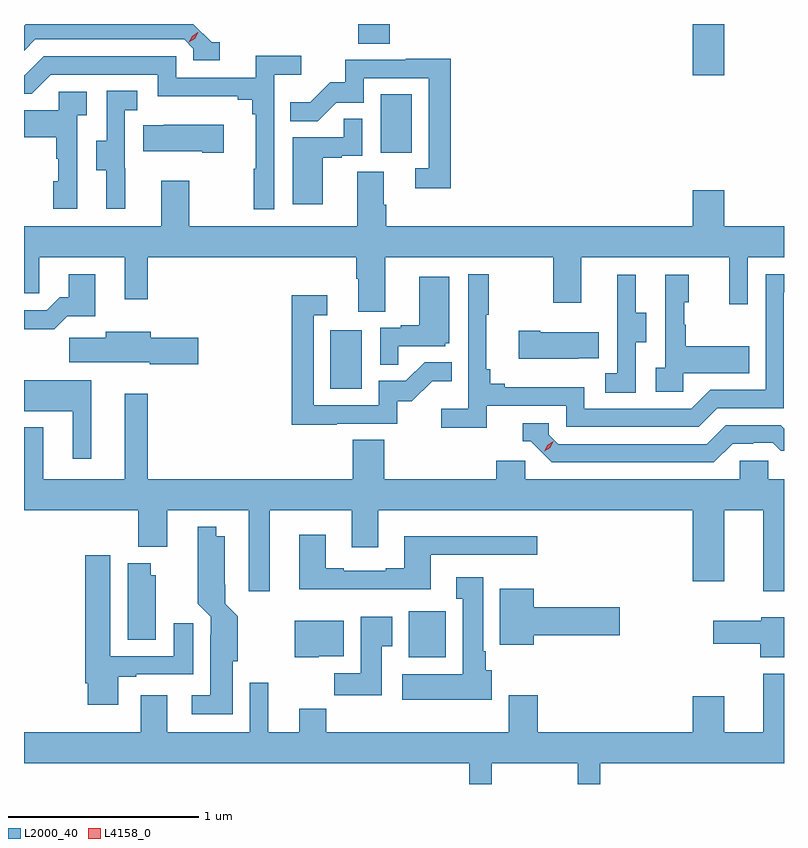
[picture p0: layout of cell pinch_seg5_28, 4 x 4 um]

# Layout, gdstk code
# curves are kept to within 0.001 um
import gdstk
lib = gdstk.Library(unit=1e-6, precision=1e-09)
def R(c, l, rs):  # rectangles x0, y0, x1, y1
    for r in rs: c.add(gdstk.rectangle(r[:2], r[2:], *l))
def P(c, l, *ps):  # polygons
    for p in ps: c.add(gdstk.Polygon(p, *l))
L2000_40 = (2000, 40)
L4158_0 = (4158, 0)

pinch_seg5_28 = lib.new_cell('pinch_seg5_28')
R(pinch_seg5_28, L2000_40, [(1110.563,902.606,1110.76,902.848), (1110.152,904.02,1110.316,904.327), (1110.416,905.262,1110.58,905.569), (1112.06,905.67,1112.224,905.94), (1110.299,905.836,1110.464,905.94)])
P(pinch_seg5_28, L2000_40, [(1109.569,905.844),(1109.526,905.844),(1109.43,905.94),(1108.547,905.94),(1108.539,905.932),(1108.539,905.799),(1108.599,905.859),(1109.382,905.859),(1109.43,905.811),(1109.43,905.748),(1109.569,905.748)],
  [(1109.856,905.672),(1109.998,905.672),(1109.998,905.774),(1109.759,905.774),(1109.759,905.658),(1109.34,905.658),(1109.34,905.769),(1108.643,905.769),(1108.544,905.67),(1108.539,905.67),(1108.539,905.574),(1108.581,905.574),(1108.68,905.673),(1109.244,905.673),(1109.244,905.561),(1109.663,905.561),(1109.663,905.542),(1109.74,905.542),(1109.74,905.465),(1109.759,905.465),(1109.759,905.177),(1109.748,905.177),(1109.748,904.965),(1109.856,904.965)],
  [(1110.785,905.756),(1110.547,905.756),(1110.547,905.751),(1110.229,905.751),(1110.229,905.634),(1110.152,905.634),(1110.045,905.527),(1109.941,905.527),(1109.941,905.428),(1110.085,905.428),(1110.183,905.526),(1110.327,905.526),(1110.327,905.655),(1110.669,905.655),(1110.669,905.181),(1110.597,905.181),(1110.597,905.076),(1110.785,905.076)],
  [(1109.072,905.181),(1109.07,905.181),(1109.07,905.485),(1109.134,905.485),(1109.134,905.588),(1108.974,905.588),(1108.974,905.325),(1108.919,905.325),(1108.919,905.17),(1108.973,905.17),(1108.973,904.968),(1109.072,904.968)],
  [(1108.818,905.459),(1108.87,905.459),(1108.87,905.583),(1108.722,905.583),(1108.722,905.485),(1108.539,905.485),(1108.539,905.345),(1108.71,905.345),(1108.71,905.231),(1108.72,905.231),(1108.72,905.112),(1108.694,905.112),(1108.694,904.968),(1108.818,904.968)],
  [(1110.112,905.235),(1110.212,905.235),(1110.212,905.247),(1110.318,905.247),(1110.318,905.441),(1110.223,905.441),(1110.223,905.343),(1109.954,905.343),(1109.954,904.992),(1110.112,904.992)],
  [(1109.59,905.41),(1109.275,905.41),(1109.275,905.407),(1109.167,905.407),(1109.167,905.27),(1109.477,905.27),(1109.477,905.263),(1109.59,905.263)],
  [(1110.439,904.712),(1111.324,904.712),(1111.324,904.473),(1111.471,904.473),(1111.471,904.712),(1112.252,904.712),(1112.252,904.464),(1112.349,904.464),(1112.349,904.712),(1112.539,904.712),(1112.539,904.876),(1112.224,904.876),(1112.224,905.065),(1112.06,905.065),(1112.06,904.876),(1110.446,904.876),(1110.446,904.988),(1110.433,904.988),(1110.433,905.162),(1110.293,905.162),(1110.293,904.876),(1109.409,904.876),(1109.409,905.116),(1109.261,905.116),(1109.261,904.876),(1108.539,904.876),(1108.539,904.522),(1108.62,904.522),(1108.62,904.712),(1109.069,904.712),(1109.069,904.491),(1109.191,904.491),(1109.191,904.712),(1110.287,904.712),(1110.287,904.6),(1110.299,904.6),(1110.299,904.426),(1110.439,904.426)],
  [(1110.974,903.93),(1111.392,903.93),(1111.392,903.819),(1112.089,903.819),(1112.188,903.918),(1112.538,903.918),(1112.539,904.623),(1112.442,904.623),(1112.442,904.014),(1112.151,904.014),(1112.052,903.915),(1111.488,903.915),(1111.488,904.027),(1111.069,904.027),(1111.069,904.046),(1110.992,904.046),(1110.992,904.123),(1110.973,904.123),(1110.973,904.411),(1110.985,904.411),(1110.985,904.624),(1110.876,904.624),(1110.876,903.916),(1110.735,903.916),(1110.735,903.814),(1110.974,903.814)],
  [(1108.766,904.403),(1108.915,904.403),(1108.915,904.624),(1108.775,904.624),(1108.775,904.501),(1108.726,904.501),(1108.659,904.434),(1108.539,904.434),(1108.539,904.334),(1108.697,904.334)],
  [(1112.01,904.103),(1112.357,904.103),(1112.357,904.243),(1112.023,904.243),(1112.023,904.358),(1112.013,904.358),(1112.013,904.476),(1112.038,904.476),(1112.038,904.621),(1111.914,904.621),(1111.914,904.13),(1111.863,904.13),(1111.863,904.005),(1112.01,904.005)],
  [(1111.758,904.264),(1111.813,904.264),(1111.813,904.419),(1111.759,904.419),(1111.759,904.621),(1111.661,904.621),(1111.661,904.407),(1111.662,904.407),(1111.662,904.103),(1111.599,904.103),(1111.599,904),(1111.758,904)],
  [(1110.509,904.245),(1110.756,904.245),(1110.756,904.26),(1110.778,904.26),(1110.778,904.609),(1110.62,904.609),(1110.62,904.354),(1110.521,904.354),(1110.521,904.341),(1110.414,904.341),(1110.414,904.147),(1110.509,904.147)],
  [(1110.185,903.837),(1110.504,903.837),(1110.504,903.954),(1110.58,903.954),(1110.687,904.061),(1110.791,904.061),(1110.791,904.16),(1110.647,904.16),(1110.549,904.062),(1110.405,904.062),(1110.405,903.933),(1110.063,903.933),(1110.063,904.407),(1110.136,904.407),(1110.136,904.513),(1109.947,904.513),(1109.947,903.832),(1110.185,903.832)],
  [(1111.457,904.181),(1111.565,904.181),(1111.565,904.318),(1111.255,904.318),(1111.255,904.326),(1111.143,904.326),(1111.143,904.178),(1111.457,904.178)],
  [(1109.455,904.29),(1109.206,904.29),(1109.206,904.321),(1108.97,904.321),(1108.97,904.289),(1108.776,904.289),(1108.776,904.16),(1109.202,904.16),(1109.202,904.148),(1109.455,904.148)],
  [(1108.894,904.066),(1108.539,904.066),(1108.539,903.902),(1108.796,903.902),(1108.796,903.651),(1108.894,903.651)],
  [(1109.833,903.38),(1110.263,903.38),(1110.263,903.186),(1110.403,903.186),(1110.403,903.38),(1112.06,903.38),(1112.06,903.006),(1112.224,903.006),(1112.224,903.38),(1112.429,903.38),(1112.429,902.955),(1112.539,902.955),(1112.539,903.544),(1112.457,903.544),(1112.457,903.642),(1112.307,903.642),(1112.307,903.544),(1111.176,903.544),(1111.176,903.642),(1111.025,903.642),(1111.025,903.544),(1110.434,903.544),(1110.434,903.752),(1110.269,903.752),(1110.269,903.544),(1109.191,903.544),(1109.191,903.994),(1109.069,903.994),(1109.069,903.544),(1108.639,903.544),(1108.639,903.817),(1108.539,903.817),(1108.539,903.38),(1109.141,903.38),(1109.141,903.188),(1109.293,903.188),(1109.293,903.38),(1109.723,903.38),(1109.723,902.955),(1109.833,902.955)],
  [(1112.269,903.732),(1112.376,903.732),(1112.376,903.735),(1112.479,903.735),(1112.521,903.693),(1112.539,903.693),(1112.539,903.81),(1112.521,903.828),(1112.232,903.828),(1112.133,903.729),(1111.35,903.729),(1111.302,903.777),(1111.302,903.84),(1111.163,903.84),(1111.163,903.744),(1111.206,903.744),(1111.317,903.633),(1112.17,903.633)],
  [(1109.638,902.586),(1109.664,902.586),(1109.664,902.823),(1109.597,902.89),(1109.596,903.244),(1109.551,903.244),(1109.551,903.295),(1109.454,903.295),(1109.453,902.89),(1109.523,902.82),(1109.523,902.726),(1109.519,902.726),(1109.519,902.407),(1109.421,902.407),(1109.421,902.306),(1109.638,902.306)],
  [(1110.679,903.147),(1111.24,903.147),(1111.24,903.244),(1110.539,903.244),(1110.539,903.076),(1110.443,903.076),(1110.443,903.063),(1110.223,903.063),(1110.223,903.076),(1110.127,903.076),(1110.127,903.253),(1109.987,903.253),(1109.987,902.966),(1110.679,902.966)],
  [(1109.035,902.505),(1109.131,902.505),(1109.131,902.517),(1109.431,902.517),(1109.431,902.785),(1109.327,902.785),(1109.327,902.613),(1108.993,902.613),(1108.993,903.145),(1108.862,903.145),(1108.862,902.47),(1108.874,902.47),(1108.874,902.358),(1109.035,902.358)],
  [(1109.233,903.039),(1109.206,903.039),(1109.206,903.103),(1109.084,903.103),(1109.084,902.698),(1109.233,902.698)],
  [(1111,902.538),(1110.97,902.538),(1110.97,902.638),(1110.955,902.638),(1110.955,903.028),(1110.815,903.028),(1110.815,902.915),(1110.848,902.915),(1110.848,902.518),(1110.531,902.518),(1110.531,902.384),(1111,902.384)],
  [(1111.222,902.723),(1111.675,902.723),(1111.675,902.87),(1111.222,902.87),(1111.222,902.968),(1111.043,902.968),(1111.043,902.672),(1111.222,902.672)],
  [(1110.421,902.665),(1110.478,902.665),(1110.478,902.821),(1110.311,902.821),(1110.311,902.524),(1110.172,902.524),(1110.172,902.406),(1110.421,902.406)],
  [(1112.539,902.818),(1112.418,902.818),(1112.418,902.8),(1112.166,902.8),(1112.166,902.678),(1112.414,902.678),(1112.414,902.606),(1112.539,902.606)],
  [(1110.09,902.612),(1110.223,902.612),(1110.223,902.8),(1109.965,902.8),(1109.965,902.606),(1110.09,902.606)],
  [(1111.001,902.048),(1111.454,902.048),(1111.454,901.94),(1111.571,901.94),(1111.571,902.048),(1112.539,902.048),(1112.539,902.521),(1112.429,902.521),(1112.429,902.212),(1112.224,902.212),(1112.224,902.401),(1112.06,902.401),(1112.06,902.212),(1111.244,902.212),(1111.244,902.407),(1111.091,902.407),(1111.091,902.212),(1110.131,902.212),(1110.131,902.336),(1109.987,902.336),(1109.987,902.212),(1109.824,902.212),(1109.824,902.473),(1109.727,902.473),(1109.727,902.212),(1109.293,902.212),(1109.293,902.407),(1109.153,902.407),(1109.153,902.212),(1108.539,902.212),(1108.539,902.048),(1110.883,902.048),(1110.883,901.94),(1111.001,901.94)])
P(pinch_seg5_28, L4158_0, [(1111.278,903.691),(1111.278,903.692),(1111.294,903.724),(1111.325,903.744),(1111.325,903.744),(1111.325,903.744),(1111.309,903.711),(1111.278,903.691)],
  [(1109.407,905.844),(1109.407,905.844),(1109.424,905.876),(1109.454,905.896),(1109.455,905.896),(1109.455,905.896),(1109.438,905.863),(1109.407,905.844)])

lib.write_gds('pinch_seg5_28.gds')
